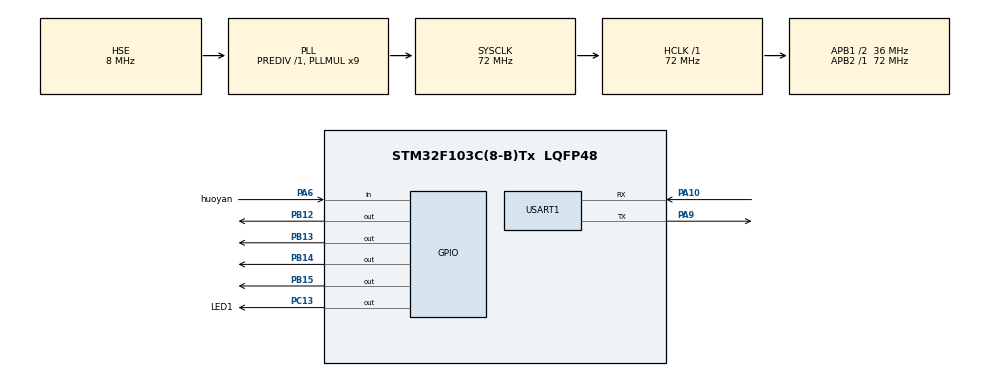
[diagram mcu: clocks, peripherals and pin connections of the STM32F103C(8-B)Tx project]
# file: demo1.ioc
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Mcu.Family=STM32F1
Mcu.Name=STM32F103C(8-B)Tx
Mcu.Package=LQFP48
NVIC.PriorityGroup=NVIC_PRIORITYGROUP_4
NVIC.USART1_IRQn=true\:0\:0\:false\:false\:true\:true\:true
PA10.Mode=Asynchronous
PA10.Signal=USART1_RX
PA13.Mode=Serial_Wire
PA13.Signal=SYS_JTMS-SWDIO
PA14.Mode=Serial_Wire
PA14.Signal=SYS_JTCK-SWCLK
PA6.GPIO_Label=huoyan
PA6.Signal=GPIO_Input
PA9.Mode=Asynchronous
PA9.Signal=USART1_TX
PB12.Signal=GPIO_Output
PB13.Signal=GPIO_Output
PB14.Signal=GPIO_Output
PB15.Signal=GPIO_Output
PC13-TAMPER-RTC.GPIO_Label=LED1
PC13-TAMPER-RTC.Signal=GPIO_Output
PC14-OSC32_IN.Mode=LSE-External-Oscillator
PC14-OSC32_IN.Signal=RCC_OSC32_IN
PC15-OSC32_OUT.Mode=LSE-External-Oscillator
PC15-OSC32_OUT.Signal=RCC_OSC32_OUT
PD0-OSC_IN.Mode=HSE-External-Oscillator
PD0-OSC_IN.Signal=RCC_OSC_IN
PD1-OSC_OUT.Mode=HSE-External-Oscillator
PD1-OSC_OUT.Signal=RCC_OSC_OUT
ProjectManager.HeapSize=0x200
ProjectManager.StackSize=0x400
ProjectManager.TargetToolchain=MDK-ARM V5
RCC.AHBFreq_Value=72000000
RCC.APB1CLKDivider=RCC_HCLK_DIV2
RCC.APB1Freq_Value=36000000
RCC.APB1TimFreq_Value=72000000
RCC.APB2Freq_Value=72000000
RCC.APB2TimFreq_Value=72000000
RCC.HCLKFreq_Value=72000000
RCC.PLLMUL=RCC_PLL_MUL9
RCC.PLLSourceVirtual=RCC_PLLSOURCE_HSE
RCC.SYSCLKFreq_VALUE=72000000
RCC.SYSCLKSource=RCC_SYSCLKSOURCE_PLLCLK
RCC.TimSys_Div=SYSTICK_CLKSOURCE_HCLK_DIV8
RCC.USBFreq_Value=72000000
USART1.VirtualMode=VM_ASYNC
board=custom

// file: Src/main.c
/* USER CODE BEGIN Header */
/**
  ******************************************************************************
  * @file           : main.c
  * @brief          : Main program body
  ******************************************************************************
  * @attention
  *
  * <h2><center>&copy; Copyright (c) 2020 STMicroelectronics.
  * All rights reserved.</center></h2>
  *
  * This software component is licensed by ST under BSD 3-Clause license,
  * the "License"; You may not use this file except in compliance with the
  * License. You may obtain a copy of the License at:
  *                        opensource.org/licenses/BSD-3-Clause
  *
  ******************************************************************************
  */
/* USER CODE END Header */

#include "main.h"
#include "usart.h"
#include "gpio.h"

/* USER CODE BEGIN Includes */
#include "oled.h"
#include "stdio.h"
#include "string.h"
/* USER CODE END Includes */

/* USER CODE BEGIN PTD */
uint8_t flagchar;

uint8_t LED_HELLO[]="HELLO\r\n";

uint8_t buffdata;												//存储串口接收单个字符

uint8_t buffdatas[50];									//存储串口接收字符串

char buffdatas1[50];										//用来复制结果 防止还没有接收完数据 就被拿来用了

uint8_t buffcount = 0;									//接收循环变量

char  deng_open[]="deng_open";					//开灯指令

char  deng_close[]="deng_close";				//关灯指令

uint16_t flag = 5;											//控制标志位
/* USER CODE END PTD */

/* USER CODE BEGIN PD */
#define LED1_Close() HAL_GPIO_WritePin(LED1_GPIO_Port,LED1_Pin,GPIO_PIN_SET);
#define LED1_Open() HAL_GPIO_WritePin(LED1_GPIO_Port,LED1_Pin,GPIO_PIN_RESET);

#define get_huoyan() HAL_GPIO_ReadPin(huoyan_GPIO_Port,huoyan_Pin)
#define huoyan_set() HAL_GPIO_WritePin(huoyan_GPIO_Port,huoyan_Pin,GPIO_PIN_SET);
extern unsigned char BMP1[];
/* USER CODE END PD */

/* USER CODE BEGIN PM */
/***************选择控制标志位***************/
void switch_flag()
{

							if(strstr(buffdatas1,deng_open) != NULL)  //deng_open 开  灯   标志位
						{
							flag =0;

						}
							else	if(strstr(buffdatas1,deng_close) != NULL)//deng_close 关  灯   标志位
						{
							flag = 1;

						}

}

/***************自定义发送函数***************/
void SenData(uint8_t  * str)
{
	LED1_Open();  //开灯
	HAL_UART_Transmit(&huart1,str,strlen((const char *)str),2000); //发送数据
	LED1_Close(); //关灯
}
/****************加载图片****************/
void OLED_BMP()
{
	OLED_Clear(); 							//清除显示器
	OLED_DrawBMP(0,0,128,8,BMP1);	//x为0 y为0  横128个像素   竖 8 个像素            OLED12864
}
/****************加载字符****************/
void OLED_String()
{
	OLED_Clear();
	OLED_ShowString(10,0,(uint8_t *)"xiaotangstudio");
	OLED_ShowCHinese(27,3,0);
	HAL_Delay(500);
	OLED_ShowCHinese(42,3,1);
	HAL_Delay(500);
	OLED_ShowCHinese(57,3,2);
	HAL_Delay(500);
	OLED_ShowCHinese(72,3,3);
	HAL_Delay(500);
	OLED_ShowCHinese(87,3,4);
	OLED_ShowString(30,6,(uint8_t *)"2020-6-21");
}
/* USER CODE END PM */

void SystemClock_Config(void);

int main(void)
{

  /* MCU Configuration--------------------------------------------------------*/

  /* Reset of all peripherals, Initializes the Flash interface and the Systick. */
  HAL_Init();

  /* Configure the system clock */
  SystemClock_Config();

  /* Initialize all configured peripherals */
  MX_GPIO_Init();
  MX_USART1_UART_Init();
  /* USER CODE BEGIN 2 */

	//OLED_Init(); //初始化OLED

	//OLED_BMP();		//加载图|片

	//HAL_Delay(500);

	//OLED_String();	//显示文字
 huoyan_set();
		SenData(LED_HELLO);
	HAL_UART_Receive_IT(&huart1,(uint8_t * )&buffdata,1);//设置接收中断
  /* USER CODE END 2 */

  /* Infinite loop */
  /* USER CODE BEGIN WHILE */
  while (1)
  {

					/*	switch(flag)
						{

								case 0: //开  灯
								LED1_Open();
								break;

								case 1: //关  灯
								LED1_Close();
								break;
						}*/
		if(!get_huoyan())
		{
			HAL_GPIO_TogglePin(LED1_GPIO_Port,LED1_Pin);
			HAL_Delay(200);
		}

    /* USER CODE END WHILE */

  }
}

void SystemClock_Config(void)
{
  RCC_OscInitTypeDef RCC_OscInitStruct = {0};
  RCC_ClkInitTypeDef RCC_ClkInitStruct = {0};

  /** Initializes the CPU, AHB and APB busses clocks
  */
  RCC_OscInitStruct.OscillatorType = RCC_OSCILLATORTYPE_HSE;
  RCC_OscInitStruct.HSEState = RCC_HSE_ON;
  RCC_OscInitStruct.HSEPredivValue = RCC_HSE_PREDIV_DIV1;
  RCC_OscInitStruct.HSIState = RCC_HSI_ON;
  RCC_OscInitStruct.PLL.PLLState = RCC_PLL_ON;
  RCC_OscInitStruct.PLL.PLLSource = RCC_PLLSOURCE_HSE;
  RCC_OscInitStruct.PLL.PLLMUL = RCC_PLL_MUL9;
  if (HAL_RCC_OscConfig(&RCC_OscInitStruct) != HAL_OK)
  {
    Error_Handler();
  }
  /** Initializes the CPU, AHB and APB busses clocks
  */
  RCC_ClkInitStruct.ClockType = RCC_CLOCKTYPE_HCLK|RCC_CLOCKTYPE_SYSCLK
                              |RCC_CLOCKTYPE_PCLK1|RCC_CLOCKTYPE_PCLK2;
  RCC_ClkInitStruct.SYSCLKSource = RCC_SYSCLKSOURCE_PLLCLK;
  RCC_ClkInitStruct.AHBCLKDivider = RCC_SYSCLK_DIV1;
  RCC_ClkInitStruct.APB1CLKDivider = RCC_HCLK_DIV2;
  RCC_ClkInitStruct.APB2CLKDivider = RCC_HCLK_DIV1;

  if (HAL_RCC_ClockConfig(&RCC_ClkInitStruct, FLASH_LATENCY_2) != HAL_OK)
  {
    Error_Handler();
  }
}

/* USER CODE BEGIN 4 */
void HAL_UART_RxCpltCallback(UART_HandleTypeDef *huart)
{
		if(huart->Instance == USART1)
			{
				if(buffcount >=50)
				{
					buffcount = 0;
					 memset(buffdatas,0,sizeof(buffdatas));
				//	SenData((uint8_t *)&buffdata);
				}
				else
				{

					if(flagchar== '#'||buffdata== '#') //判断头是不是  # 号
					{
						if(buffcount==0) //只进来一次
						{
								flagchar= buffdata;  //把头（#）赋给标志位
						}

						if( buffdata=='*') //判断尾是不 * 号
						{

							SenData(buffdatas);  //发送收到的数据

							while(HAL_UART_GetState(&huart1) == HAL_UART_STATE_BUSY_TX);//检测UART发送结束
							strcpy(buffdatas1,(char *)buffdatas);

							switch_flag();

							flagchar = '0';  // 清除头
							buffcount = 0; //清除数据计数
							memset(buffdatas,0x00,sizeof(buffdatas)); //清空数组

							HAL_UART_Receive_IT(&huart1,(uint8_t *)&buffdata,1); //再次启动串口接收
							return;
						}
						//第一次进来 因为是一个 # 号 所以不存它
							if(buffcount>0) //判断是不是第二次进来
							{
									buffdatas[buffcount-1] = buffdata; //存数据

							}
							buffcount++;//计数器++
					}

				}

				HAL_UART_Receive_IT(&huart1,(uint8_t *)&buffdata,1);
			}

}
/* USER CODE END 4 */

void Error_Handler(void)
{
}

/************************ (C) COPYRIGHT STMicroelectronics *****END OF FILE****/
